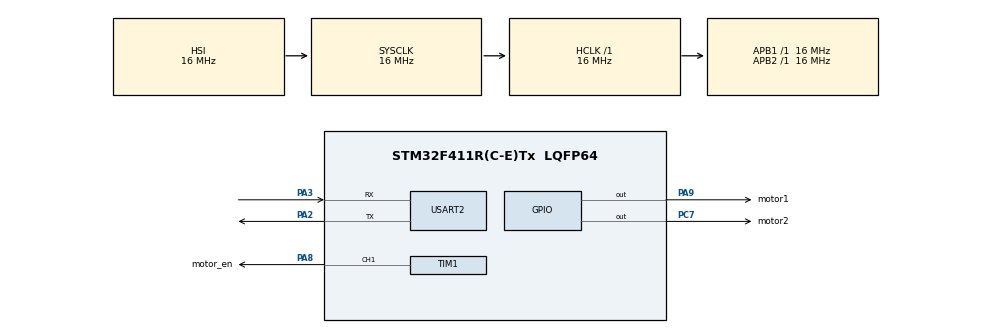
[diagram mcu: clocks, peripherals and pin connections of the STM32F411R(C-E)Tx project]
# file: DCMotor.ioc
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Mcu.Family=STM32F4
Mcu.Name=STM32F411R(C-E)Tx
Mcu.Package=LQFP64
NVIC.PriorityGroup=NVIC_PRIORITYGROUP_4
NVIC.USART2_IRQn=true\:0\:0\:false\:false\:true\:true\:true\:true
PA2.Mode=Asynchronous
PA2.Signal=USART2_TX
PA3.Mode=Asynchronous
PA3.Signal=USART2_RX
PA8.GPIO_Label=motor_en
PA8.Signal=S_TIM1_CH1
PA9.GPIO_Label=motor1
PA9.Signal=GPIO_Output
PC7.GPIO_Label=motor2
PC7.Signal=GPIO_Output
ProjectManager.HeapSize=0x200
ProjectManager.StackSize=0x400
ProjectManager.TargetToolchain=STM32CubeIDE
RCC.AHBFreq_Value=16000000
RCC.APB1Freq_Value=16000000
RCC.APB2Freq_Value=16000000
RCC.CortexFreq_Value=16000000
RCC.HSE_VALUE=25000000
RCC.HSI_VALUE=16000000
RCC.LSE_VALUE=32768
RCC.SYSCLKFreq_VALUE=16000000
RCC.VCOOutputFreq_Value=192000000
SH.S_TIM1_CH1.0=TIM1_CH1,PWM Generation1 CH1
TIM1.Channel-PWM\ Generation1\ CH1=TIM_CHANNEL_1
TIM1.Period=1000-1
TIM1.Prescaler=16-1
USART2.VirtualMode=VM_ASYNC
VP_TIM1_VS_ClockSourceINT.Mode=Internal
board=custom

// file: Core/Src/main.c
/* USER CODE BEGIN Header */
/**
  ******************************************************************************
  * @file           : main.c
  * @brief          : Main program body
  ******************************************************************************
  * @attention
  *
  * Copyright (c) 2024 STMicroelectronics.
  * All rights reserved.
  *
  * This software is licensed under terms that can be found in the LICENSE file
  * in the root directory of this software component.
  * If no LICENSE file comes with this software, it is provided AS-IS.
  *
  ******************************************************************************
  */
/* USER CODE END Header */
#include "main.h"

/* USER CODE BEGIN Includes */
#include "uart.h"
/* USER CODE END Includes */

TIM_HandleTypeDef htim1;

UART_HandleTypeDef huart2;

void SystemClock_Config(void);
static void MX_GPIO_Init(void);
static void MX_USART2_UART_Init(void);
static void MX_TIM1_Init(void);

int main(void)
{

  /* MCU Configuration--------------------------------------------------------*/

  /* Reset of all peripherals, Initializes the Flash interface and the Systick. */
  HAL_Init();

  /* Configure the system clock */
  SystemClock_Config();

  /* Initialize all configured peripherals */
  MX_GPIO_Init();
  MX_USART2_UART_Init();
  MX_TIM1_Init();
  /* USER CODE BEGIN 2 */
  initUart(&huart2);
  HAL_TIM_PWM_Start(&htim1, TIM_CHANNEL_1);
  printf("DC motor example.\n");
  /* USER CODE END 2 */

  /* Infinite loop */
  /* USER CODE BEGIN WHILE */
  while (1)
  {
	  HAL_GPIO_WritePin(motor1_GPIO_Port, motor1_Pin, 0);
	  HAL_GPIO_WritePin(motor2_GPIO_Port, motor2_Pin, 1);
	  printf("motor is cw\n");
	  //속도증가
	  for (int i = 1; i<1000; i*=2){
		  htim1.Instance->CCR1 = i;
		  HAL_Delay(100);
	  }
	  HAL_Delay(1000);
	  //속도감소
	  for (int i = 1; i<1000; i*=2){
	 		  htim1.Instance->CCR1 = 999-i;
	 		  HAL_Delay(100);
	 	  }
	  HAL_GPIO_WritePin(motor1_GPIO_Port, motor1_Pin, 1);
	  HAL_GPIO_WritePin(motor2_GPIO_Port, motor2_Pin, 0);
	  printf("motor is ccw\n");
	  for (int i = 1; i<1000; i*=2){
	  		  htim1.Instance->CCR1 = i;
	  		  HAL_Delay(100);
	  	  }
	  	  HAL_Delay(1000);
	  	  //속도감소
	  	  for (int i = 1; i<1000; i*=2){
	  	 		  htim1.Instance->CCR1 = 999-i;
	  	 		  HAL_Delay(100);
	  	 	  }
    /* USER CODE END WHILE */

  }
}

void SystemClock_Config(void)
{
  RCC_OscInitTypeDef RCC_OscInitStruct = {0};
  RCC_ClkInitTypeDef RCC_ClkInitStruct = {0};

  /** Configure the main internal regulator output voltage
  */
  __HAL_RCC_PWR_CLK_ENABLE();
  __HAL_PWR_VOLTAGESCALING_CONFIG(PWR_REGULATOR_VOLTAGE_SCALE1);

  /** Initializes the RCC Oscillators according to the specified parameters
  * in the RCC_OscInitTypeDef structure.
  */
  RCC_OscInitStruct.OscillatorType = RCC_OSCILLATORTYPE_HSI;
  RCC_OscInitStruct.HSIState = RCC_HSI_ON;
  RCC_OscInitStruct.HSICalibrationValue = RCC_HSICALIBRATION_DEFAULT;
  RCC_OscInitStruct.PLL.PLLState = RCC_PLL_NONE;
  if (HAL_RCC_OscConfig(&RCC_OscInitStruct) != HAL_OK)
  {
    Error_Handler();
  }

  /** Initializes the CPU, AHB and APB buses clocks
  */
  RCC_ClkInitStruct.ClockType = RCC_CLOCKTYPE_HCLK|RCC_CLOCKTYPE_SYSCLK
                              |RCC_CLOCKTYPE_PCLK1|RCC_CLOCKTYPE_PCLK2;
  RCC_ClkInitStruct.SYSCLKSource = RCC_SYSCLKSOURCE_HSI;
  RCC_ClkInitStruct.AHBCLKDivider = RCC_SYSCLK_DIV1;
  RCC_ClkInitStruct.APB1CLKDivider = RCC_HCLK_DIV1;
  RCC_ClkInitStruct.APB2CLKDivider = RCC_HCLK_DIV1;

  if (HAL_RCC_ClockConfig(&RCC_ClkInitStruct, FLASH_LATENCY_0) != HAL_OK)
  {
    Error_Handler();
  }
}

static void MX_TIM1_Init(void)
{

  TIM_ClockConfigTypeDef sClockSourceConfig = {0};
  TIM_MasterConfigTypeDef sMasterConfig = {0};
  TIM_OC_InitTypeDef sConfigOC = {0};
  TIM_BreakDeadTimeConfigTypeDef sBreakDeadTimeConfig = {0};

  htim1.Instance = TIM1;
  htim1.Init.Prescaler = 16-1;
  htim1.Init.CounterMode = TIM_COUNTERMODE_UP;
  htim1.Init.Period = 1000-1;
  htim1.Init.ClockDivision = TIM_CLOCKDIVISION_DIV1;
  htim1.Init.RepetitionCounter = 0;
  htim1.Init.AutoReloadPreload = TIM_AUTORELOAD_PRELOAD_DISABLE;
  if (HAL_TIM_Base_Init(&htim1) != HAL_OK)
  {
    Error_Handler();
  }
  sClockSourceConfig.ClockSource = TIM_CLOCKSOURCE_INTERNAL;
  if (HAL_TIM_ConfigClockSource(&htim1, &sClockSourceConfig) != HAL_OK)
  {
    Error_Handler();
  }
  if (HAL_TIM_PWM_Init(&htim1) != HAL_OK)
  {
    Error_Handler();
  }
  sMasterConfig.MasterOutputTrigger = TIM_TRGO_RESET;
  sMasterConfig.MasterSlaveMode = TIM_MASTERSLAVEMODE_DISABLE;
  if (HAL_TIMEx_MasterConfigSynchronization(&htim1, &sMasterConfig) != HAL_OK)
  {
    Error_Handler();
  }
  sConfigOC.OCMode = TIM_OCMODE_PWM1;
  sConfigOC.Pulse = 0;
  sConfigOC.OCPolarity = TIM_OCPOLARITY_HIGH;
  sConfigOC.OCNPolarity = TIM_OCNPOLARITY_HIGH;
  sConfigOC.OCFastMode = TIM_OCFAST_DISABLE;
  sConfigOC.OCIdleState = TIM_OCIDLESTATE_RESET;
  sConfigOC.OCNIdleState = TIM_OCNIDLESTATE_RESET;
  if (HAL_TIM_PWM_ConfigChannel(&htim1, &sConfigOC, TIM_CHANNEL_1) != HAL_OK)
  {
    Error_Handler();
  }
  sBreakDeadTimeConfig.OffStateRunMode = TIM_OSSR_DISABLE;
  sBreakDeadTimeConfig.OffStateIDLEMode = TIM_OSSI_DISABLE;
  sBreakDeadTimeConfig.LockLevel = TIM_LOCKLEVEL_OFF;
  sBreakDeadTimeConfig.DeadTime = 0;
  sBreakDeadTimeConfig.BreakState = TIM_BREAK_DISABLE;
  sBreakDeadTimeConfig.BreakPolarity = TIM_BREAKPOLARITY_HIGH;
  sBreakDeadTimeConfig.AutomaticOutput = TIM_AUTOMATICOUTPUT_DISABLE;
  if (HAL_TIMEx_ConfigBreakDeadTime(&htim1, &sBreakDeadTimeConfig) != HAL_OK)
  {
    Error_Handler();
  }
  HAL_TIM_MspPostInit(&htim1);

}

static void MX_USART2_UART_Init(void)
{

  huart2.Instance = USART2;
  huart2.Init.BaudRate = 115200;
  huart2.Init.WordLength = UART_WORDLENGTH_8B;
  huart2.Init.StopBits = UART_STOPBITS_1;
  huart2.Init.Parity = UART_PARITY_NONE;
  huart2.Init.Mode = UART_MODE_TX_RX;
  huart2.Init.HwFlowCtl = UART_HWCONTROL_NONE;
  huart2.Init.OverSampling = UART_OVERSAMPLING_16;
  if (HAL_UART_Init(&huart2) != HAL_OK)
  {
    Error_Handler();
  }

}

static void MX_GPIO_Init(void)
{
  GPIO_InitTypeDef GPIO_InitStruct = {0};

  /* GPIO Ports Clock Enable */
  __HAL_RCC_GPIOA_CLK_ENABLE();
  __HAL_RCC_GPIOC_CLK_ENABLE();

  /*Configure GPIO pin Output Level */
  HAL_GPIO_WritePin(motor2_GPIO_Port, motor2_Pin, GPIO_PIN_RESET);

  /*Configure GPIO pin Output Level */
  HAL_GPIO_WritePin(motor1_GPIO_Port, motor1_Pin, GPIO_PIN_RESET);

  /*Configure GPIO pin : motor2_Pin */
  GPIO_InitStruct.Pin = motor2_Pin;
  GPIO_InitStruct.Mode = GPIO_MODE_OUTPUT_PP;
  GPIO_InitStruct.Pull = GPIO_NOPULL;
  GPIO_InitStruct.Speed = GPIO_SPEED_FREQ_LOW;
  HAL_GPIO_Init(motor2_GPIO_Port, &GPIO_InitStruct);

  /*Configure GPIO pin : motor1_Pin */
  GPIO_InitStruct.Pin = motor1_Pin;
  GPIO_InitStruct.Mode = GPIO_MODE_OUTPUT_PP;
  GPIO_InitStruct.Pull = GPIO_NOPULL;
  GPIO_InitStruct.Speed = GPIO_SPEED_FREQ_LOW;
  HAL_GPIO_Init(motor1_GPIO_Port, &GPIO_InitStruct);

}

void Error_Handler(void)
{
  __disable_irq();
  while (1)
  {
  }
}
